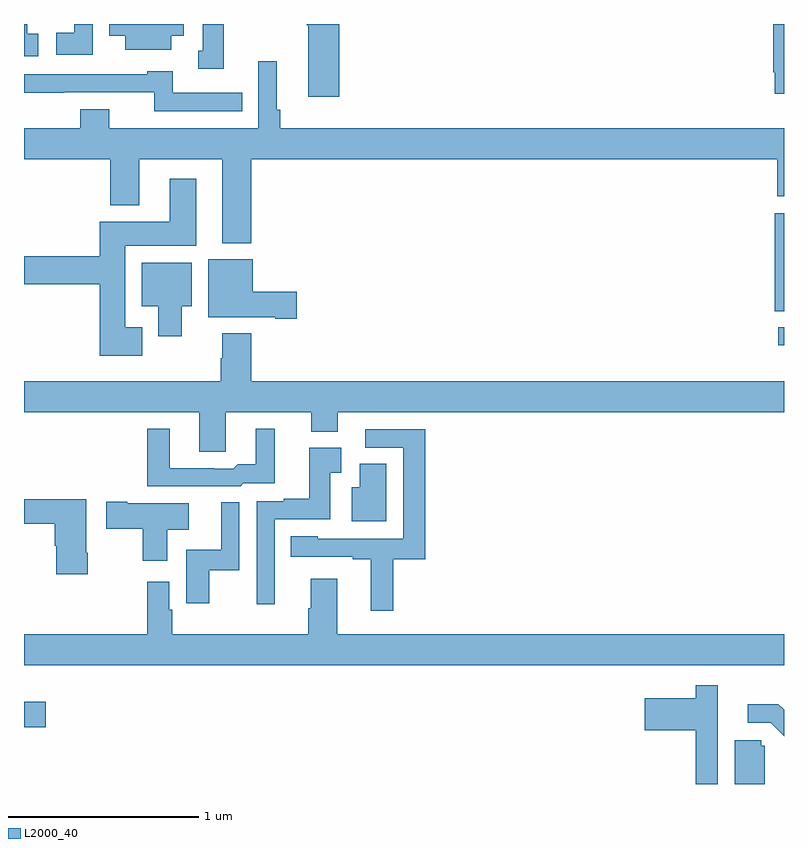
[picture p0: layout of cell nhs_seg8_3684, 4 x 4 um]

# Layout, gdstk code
import gdstk
lib = gdstk.Library(unit=1e-6, precision=1e-09)
def R(c, l, rs):  # rectangles x0, y0, x1, y1
    for r in rs: c.add(gdstk.rectangle(r[:2], r[2:], *l))
def P(c, l, *ps):  # polygons
    for p in ps: c.add(gdstk.Polygon(p, *l))
L2000_40 = (2000, 40)

nhs_seg8_3684 = lib.new_cell('nhs_seg8_3684')
R(nhs_seg8_3684, L2000_40, [(339,1092.2,339.115,1092.334), (342.969,1094.208,343,1094.304), (342.95,1094.389,343,1094.905)])
P(nhs_seg8_3684, L2000_40, [(340.051,1095.9),(339.942,1095.9),(339.942,1095.759),(339.917,1095.759),(339.917,1095.665),(340.051,1095.665)],
  [(339.076,1095.849),(339.018,1095.849),(339.018,1095.9),(339,1095.9),(339,1095.729),(339.076,1095.729)],
  [(339.363,1095.9),(339.265,1095.9),(339.265,1095.854),(339.171,1095.854),(339.171,1095.738),(339.363,1095.738)],
  [(340.66,1095.9),(340.489,1095.9),(340.489,1095.893),(340.496,1095.893),(340.496,1095.516),(340.66,1095.516)],
  [(339.775,1095.839),(339.841,1095.839),(339.841,1095.9),(339.448,1095.9),(339.448,1095.839),(339.533,1095.839),(339.533,1095.764),(339.775,1095.764)],
  [(343,1095.9),(342.943,1095.9),(342.943,1095.646),(342.951,1095.646),(342.951,1095.534),(343,1095.534)],
  [(340.196,1095.188),(342.965,1095.188),(342.965,1094.994),(343,1094.994),(343,1095.352),(340.349,1095.352),(340.349,1095.448),(340.33,1095.448),(340.33,1095.703),(340.233,1095.703),(340.233,1095.352),(339.448,1095.352),(339.448,1095.451),(339.296,1095.451),(339.296,1095.352),(339,1095.352),(339,1095.188),(339.455,1095.188),(339.455,1094.945),(339.607,1094.945),(339.607,1095.188),(340.043,1095.188),(340.043,1094.747),(340.196,1094.747)],
  [(340.148,1095.537),(339.784,1095.537),(339.784,1095.652),(339.648,1095.652),(339.648,1095.636),(339,1095.636),(339,1095.539),(339.212,1095.539),(339.212,1095.54),(339.685,1095.54),(339.685,1095.441),(340.148,1095.441)],
  [(339.622,1094.305),(339.532,1094.305),(339.532,1094.732),(339.907,1094.732),(339.907,1095.085),(339.767,1095.085),(339.767,1094.86),(339.398,1094.86),(339.398,1094.678),(339,1094.678),(339,1094.531),(339.398,1094.531),(339.398,1094.153),(339.622,1094.153)],
  [(340.435,1094.492),(340.204,1094.492),(340.204,1094.662),(339.971,1094.662),(339.971,1094.357),(340.322,1094.357),(340.322,1094.35),(340.435,1094.35)],
  [(339.829,1094.414),(339.883,1094.414),(339.883,1094.644),(339.62,1094.644),(339.62,1094.414),(339.707,1094.414),(339.707,1094.256),(339.829,1094.256)],
  [(340.063,1093.856),(340.511,1093.856),(340.511,1093.754),(340.651,1093.754),(340.651,1093.856),(343,1093.856),(343,1094.02),(340.196,1094.02),(340.196,1094.272),(340.043,1094.272),(340.043,1094.141),(340.036,1094.141),(340.036,1094.02),(339,1094.02),(339,1093.856),(339.923,1093.856),(339.923,1093.648),(340.063,1093.648)],
  [(340.155,1093.482),(340.319,1093.482),(340.319,1093.771),(340.22,1093.771),(340.22,1093.583),(340.124,1093.583),(340.101,1093.56),(340.001,1093.56),(340.001,1093.563),(339.766,1093.563),(339.766,1093.771),(339.649,1093.771),(339.649,1093.467),(340.14,1093.467)],
  [(340.943,1093.083),(341.111,1093.083),(341.111,1093.767),(340.797,1093.767),(340.797,1093.671),(340.995,1093.671),(340.995,1093.191),(340.545,1093.191),(340.545,1093.204),(340.405,1093.204),(340.405,1093.095),(340.73,1093.095),(340.73,1093.083),(340.826,1093.083),(340.826,1092.813),(340.943,1092.813)],
  [(340.32,1093.293),(340.612,1093.293),(340.612,1093.537),(340.669,1093.537),(340.669,1093.669),(340.502,1093.669),(340.502,1093.402),(340.367,1093.402),(340.367,1093.389),(340.224,1093.389),(340.224,1092.846),(340.32,1092.846)],
  [(340.906,1093.586),(340.766,1093.586),(340.766,1093.462),(340.724,1093.462),(340.724,1093.283),(340.906,1093.283)],
  [(339.336,1093.117),(339.328,1093.117),(339.328,1093.399),(339,1093.399),(339,1093.27),(339.163,1093.27),(339.163,1093.155),(339.17,1093.155),(339.17,1093.005),(339.336,1093.005)],
  [(339.754,1093.238),(339.868,1093.238),(339.868,1093.378),(339.544,1093.378),(339.544,1093.386),(339.432,1093.386),(339.432,1093.244),(339.625,1093.244),(339.625,1093.074),(339.754,1093.074)],
  [(339.976,1093.026),(340.134,1093.026),(340.134,1093.382),(340.037,1093.382),(340.037,1093.134),(339.855,1093.134),(339.855,1092.852),(339.976,1092.852)],
  [(343,1092.688),(340.648,1092.688),(340.648,1092.979),(340.508,1092.979),(340.508,1092.825),(340.496,1092.825),(340.496,1092.688),(339.781,1092.688),(339.781,1092.818),(339.765,1092.818),(339.765,1092.964),(339.649,1092.964),(339.649,1092.688),(339,1092.688),(339,1092.524),(343,1092.524)],
  [(342.651,1092.198),(342.652,1092.198),(342.652,1092.421),(342.535,1092.421),(342.535,1092.352),(342.267,1092.352),(342.267,1092.182),(342.535,1092.182),(342.535,1091.9),(342.651,1091.9)],
  [(343,1092.29),(342.971,1092.319),(342.81,1092.319),(342.81,1092.222),(342.93,1092.222),(343,1092.152)],
  [(342.898,1092.102),(342.879,1092.102),(342.879,1092.129),(342.74,1092.129),(342.74,1091.9),(342.898,1091.9)])

lib.write_gds('nhs_seg8_3684.gds')
